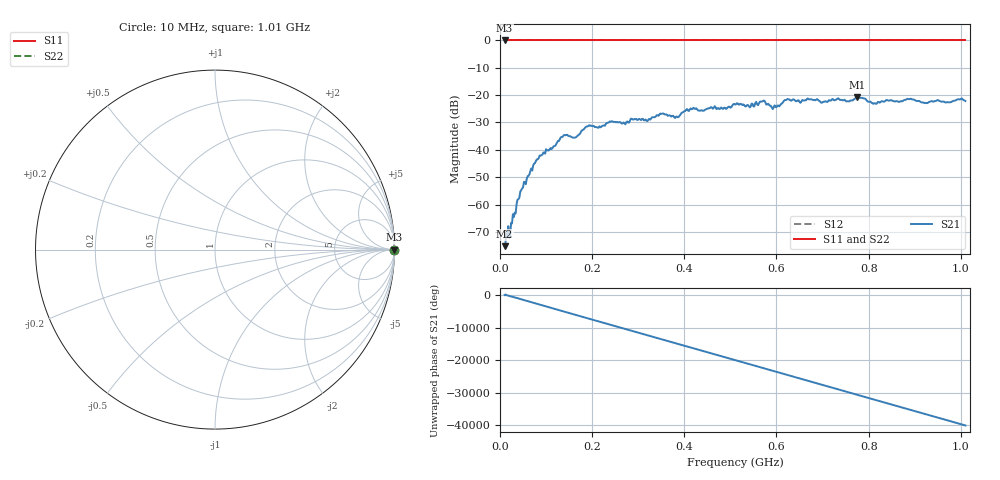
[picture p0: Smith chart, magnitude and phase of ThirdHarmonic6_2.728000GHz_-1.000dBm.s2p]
! 8/17/2025 6:41:41 AM
! C:\ANRITSUVNA\TEMP\TEMP.S2P
! CHANNEL.1
! TR.MEASUREMENT
! RAW.DATA
! RF.CORRECTION.OFF
! AVERAGING.OFF
! IF.BANDWIDTH: 5KHZ
! SWEEPTYPE:  FREQ.SWEEP(Linear)
! Reference Plane Port Info
! PORT:  PORT1  PORT2
! DISTANCE:  0  m  0  m
! TIME:  0  s  0  s
! PHASE.OFFSET:  0  deg.  0  deg.
! LOSS:  0  dB  0  dB
! REF.LOSS:  0  dB  0  dB
! REF.FREQ:  0  Hz  0  Hz
! Power Info
! POWER:  -20  dBm  -20  dBm
! EFF.POWER:  -20  dBm  -20  dBm
! SOURCE.ATTEN:  0  dB  0  dB
! TEST.ATTEN:  0  dB  0  dB
# GHZ S RI R 50.0
! FREQ.GHZ  S11RE  S11IM  S21RE  S21IM  S12RE  S12IM  S22RE  S22IM
!; PortSelection: Port_12
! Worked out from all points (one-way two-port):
!   501 points, 10 MHz to 1.01 GHz, reference 50 ohm
!   highest |S21| = -20.70 dB at 774 MHz (marker M1); lowest = -75.2 dB at 10 MHz (marker M2)
!   lowest |S11| = 0.0 dB at 10 MHz (marker M3)
!   |S11| at or under -10 dB: nowhere
!   |S22| runs from 0.0 to 0.0 dB; largest |S21 - S12| = 1.1
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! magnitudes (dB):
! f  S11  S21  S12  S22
! 10 MHz  0.0  -75.2  0.0  0.0
! 24 MHz  0.0  -66.8  0.0  0.0
! 48 MHz  0.0  -54.1  0.0  0.0
! 76 MHz  0.0  -44.8  0.0  0.0
! 136 MHz  0.0  -35.2  0.0  0.0
! 162 MHz  0.0  -35.6  0.0  0.0
! 178 MHz  0.0  -32.9  0.0  0.0
! 192 MHz  0.0  -31.2  0.0  0.0
! 322 MHz  0.0  -29.0  0.0  0.0
! 344 MHz  0.0  -27.5  0.0  0.0
! 384 MHz  0.0  -27.8  0.0  0.0
! 416 MHz  0.0  -25.2  0.0  0.0
! 510 MHz  0.0  -23.5  0.0  0.0
! 540 MHz  0.0  -23.9  0.0  0.0
! 570 MHz  0.0  -22.2  0.0  0.0
! 594 MHz  0.0  -24.4  0.0  0.0
! 622 MHz  0.0  -21.7  0.0  0.0
! 678 MHz  0.0  -21.7  0.0  0.0
! 774 MHz  0.0  -20.7  0.0  0.0
! 812 MHz  0.0  -22.9  0.0  0.0
! 844 MHz  0.0  -22.1  0.0  0.0
! 1.01 GHz  0.0  -22.2  0.0  0.0
